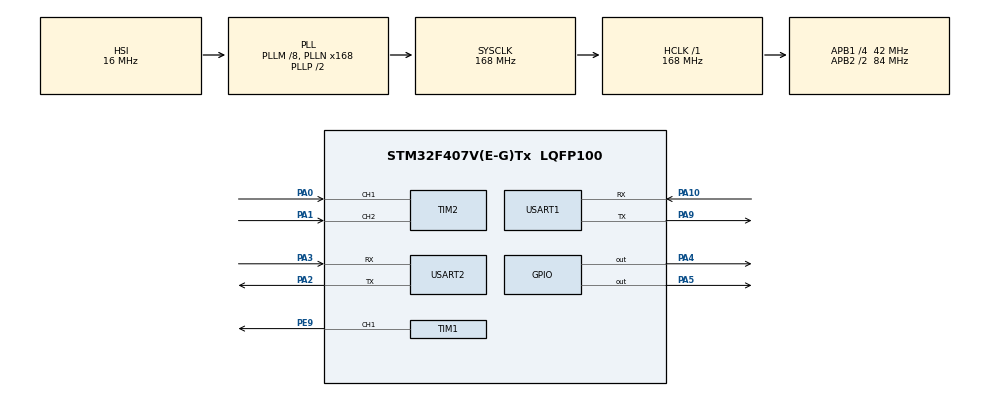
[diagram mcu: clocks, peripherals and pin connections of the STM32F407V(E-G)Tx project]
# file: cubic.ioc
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Mcu.Family=STM32F4
Mcu.Name=STM32F407V(E-G)Tx
Mcu.Package=LQFP100
NVIC.PriorityGroup=NVIC_PRIORITYGROUP_2
NVIC.TIM3_IRQn=true\:0\:1\:false\:false\:true\:true\:true
PA0-WKUP.Signal=S_TIM2_CH1_ETR
PA1.Signal=S_TIM2_CH2
PA10.Mode=Asynchronous
PA10.Signal=USART1_RX
PA2.Mode=Asynchronous
PA2.Signal=USART2_TX
PA3.Mode=Asynchronous
PA3.Signal=USART2_RX
PA4.Signal=GPIO_Output
PA5.Signal=GPIO_Output
PA9.Mode=Asynchronous
PA9.Signal=USART1_TX
PE9.Signal=S_TIM1_CH1
PH0-OSC_IN.Mode=HSE-External-Oscillator
PH0-OSC_IN.Signal=RCC_OSC_IN
PH1-OSC_OUT.Mode=HSE-External-Oscillator
PH1-OSC_OUT.Signal=RCC_OSC_OUT
ProjectManager.HeapSize=0x200
ProjectManager.StackSize=0x400
ProjectManager.TargetToolchain=MDK-ARM V5.27
RCC.48MHZClocksFreq_Value=84000000
RCC.AHBFreq_Value=168000000
RCC.APB1CLKDivider=RCC_HCLK_DIV4
RCC.APB1Freq_Value=42000000
RCC.APB1TimFreq_Value=84000000
RCC.APB2CLKDivider=RCC_HCLK_DIV2
RCC.APB2Freq_Value=84000000
RCC.APB2TimFreq_Value=168000000
RCC.CortexFreq_Value=168000000
RCC.HCLKFreq_Value=168000000
RCC.HSE_VALUE=25000000
RCC.HSI_VALUE=16000000
RCC.LSE_VALUE=32768
RCC.PLLM=8
RCC.PLLN=168
RCC.SYSCLKFreq_VALUE=168000000
RCC.SYSCLKSource=RCC_SYSCLKSOURCE_PLLCLK
RCC.VCOOutputFreq_Value=336000000
SH.S_TIM1_CH1.0=TIM1_CH1,PWM Generation1 CH1
SH.S_TIM2_CH1_ETR.0=TIM2_CH1,Encoder_Interface
SH.S_TIM2_CH2.0=TIM2_CH2,Encoder_Interface
TIM1.AutoReloadPreload=TIM_AUTORELOAD_PRELOAD_ENABLE
TIM1.Channel-PWM\ Generation1\ CH1=TIM_CHANNEL_1
TIM1.Period=2400-1
TIM1.Prescaler=7-1
TIM2.AutoReloadPreload=TIM_AUTORELOAD_PRELOAD_ENABLE
TIM2.EncoderMode=TIM_ENCODERMODE_TI12
TIM3.AutoReloadPreload=TIM_AUTORELOAD_PRELOAD_ENABLE
TIM3.Period=5000-1
TIM3.Prescaler=168-1
USART1.VirtualMode=VM_ASYNC
USART2.VirtualMode=VM_ASYNC
VP_TIM1_VS_ClockSourceINT.Mode=Internal
VP_TIM3_VS_ClockSourceINT.Mode=Internal
board=custom

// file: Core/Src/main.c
/* USER CODE BEGIN Header */
/**
  ******************************************************************************
  * @file           : main.c
  * @brief          : Main program body
  ******************************************************************************
  * @attention
  *
  * <h2><center>&copy; Copyright (c) 2021 STMicroelectronics.
  * All rights reserved.</center></h2>
  *
  * This software component is licensed by ST under BSD 3-Clause license,
  * the "License"; You may not use this file except in compliance with the
  * License. You may obtain a copy of the License at:
  *                        opensource.org/licenses/BSD-3-Clause
  *
  ******************************************************************************
  */
/* USER CODE END Header */
#include "main.h"
#include "tim.h"
#include "usart.h"
#include "gpio.h"

/* USER CODE BEGIN Includes */
#include "motor.h"
/* USER CODE END Includes */

/* USER CODE BEGIN PTD */
#define dt 0.005 //PID采样频率
/* USER CODE END PTD */

void SystemClock_Config(void);

/* USER CODE BEGIN 0 */
uint16_t current_pulse;
/**
  * @brief  串口调试
  * @retval None
  */
#include "stdio.h"
#define DEBUG
#ifdef DEBUG
#define DBG(format, ...) fprintf(stdout, "[\tDBG](File:%s, Func:%s(), Line:%d): " \
                                , __FILE__, __FUNCTION__, __LINE__);             \
                         fprintf(stdout, format"\r\n", ##__VA_ARGS__)
#else
#define DBG(format, ...)  do {} while (0)
#endif

int fputc(int ch, FILE *f){
    uint8_t temp[1] = {ch};
    HAL_UART_Transmit(&huart1, temp, 1, 2);//huart1 根据配置修改
    return ch;
}
/* USER CODE END 0 */

int main(void)
{

  /* MCU Configuration--------------------------------------------------------*/

  /* Reset of all peripherals, Initializes the Flash interface and the Systick. */
  HAL_Init();

  /* Configure the system clock */
  SystemClock_Config();

  /* Initialize all configured peripherals */
  MX_GPIO_Init();
  MX_TIM1_Init();
  MX_TIM2_Init();
  MX_USART1_UART_Init();
  MX_USART2_UART_Init();
  MX_TIM3_Init();
  /* USER CODE BEGIN 2 */
  HAL_TIM_Base_Start_IT(&htim3); //定时采样
  HAL_TIM_PWM_Start(&htim1,TIM_CHANNEL_1); //PWM开启
  HAL_TIM_Encoder_Start(&htim2, TIM_CHANNEL_ALL);  //编码器模式开启

  HAL_GPIO_WritePin(GPIOA, GPIO_PIN_4, GPIO_PIN_SET);
  HAL_GPIO_WritePin(GPIOA, GPIO_PIN_5, GPIO_PIN_RESET);
  __HAL_TIM_SET_COMPARE(&htim1, TIM_CHANNEL_1, 2400); //50%PWM
  /* USER CODE END 2 */

  /* Infinite loop */
  /* USER CODE BEGIN WHILE */
  while (1)
  {
     HAL_GPIO_TogglePin(GPIOA, GPIO_PIN_4);
     HAL_Delay(2000);
     DBG("%d\r\n", current_pulse);
    /* USER CODE END WHILE */

  }
}

void SystemClock_Config(void)
{
  RCC_OscInitTypeDef RCC_OscInitStruct = {0};
  RCC_ClkInitTypeDef RCC_ClkInitStruct = {0};

  /** Configure the main internal regulator output voltage
  */
  __HAL_RCC_PWR_CLK_ENABLE();
  __HAL_PWR_VOLTAGESCALING_CONFIG(PWR_REGULATOR_VOLTAGE_SCALE1);
  /** Initializes the RCC Oscillators according to the specified parameters
  * in the RCC_OscInitTypeDef structure.
  */
  RCC_OscInitStruct.OscillatorType = RCC_OSCILLATORTYPE_HSI;
  RCC_OscInitStruct.HSIState = RCC_HSI_ON;
  RCC_OscInitStruct.HSICalibrationValue = RCC_HSICALIBRATION_DEFAULT;
  RCC_OscInitStruct.PLL.PLLState = RCC_PLL_ON;
  RCC_OscInitStruct.PLL.PLLSource = RCC_PLLSOURCE_HSI;
  RCC_OscInitStruct.PLL.PLLM = 8;
  RCC_OscInitStruct.PLL.PLLN = 168;
  RCC_OscInitStruct.PLL.PLLP = RCC_PLLP_DIV2;
  RCC_OscInitStruct.PLL.PLLQ = 4;
  if (HAL_RCC_OscConfig(&RCC_OscInitStruct) != HAL_OK)
  {
    Error_Handler();
  }
  /** Initializes the CPU, AHB and APB buses clocks
  */
  RCC_ClkInitStruct.ClockType = RCC_CLOCKTYPE_HCLK|RCC_CLOCKTYPE_SYSCLK
                              |RCC_CLOCKTYPE_PCLK1|RCC_CLOCKTYPE_PCLK2;
  RCC_ClkInitStruct.SYSCLKSource = RCC_SYSCLKSOURCE_PLLCLK;
  RCC_ClkInitStruct.AHBCLKDivider = RCC_SYSCLK_DIV1;
  RCC_ClkInitStruct.APB1CLKDivider = RCC_HCLK_DIV4;
  RCC_ClkInitStruct.APB2CLKDivider = RCC_HCLK_DIV2;

  if (HAL_RCC_ClockConfig(&RCC_ClkInitStruct, FLASH_LATENCY_5) != HAL_OK)
  {
    Error_Handler();
  }
}

/* USER CODE BEGIN 4 */
void HAL_TIM_PeriodElapsedCallback(TIM_HandleTypeDef *htim)  //5ms进一次中断
{
  if(htim->Instance == htim3.Instance)
  {
      current_pulse = (uint32_t)(__HAL_TIM_GET_COUNTER(&htim1)); //读取编 码器数值  采样频率200Hz
      __HAL_TIM_SET_COUNTER(&htim1, 0); //把这个数值清零从新计数

      /*角度PID*/
      angle_pid.error    = angle_pid.measured_value - angle_pid.set_value;
      angle_pid.integral = angle_pid.error * dt + angle_pid.integral;
      angle_pid.derival  = (angle_pid.error - angle_pid.passive_error) / dt;
      angle_pid.output   = current_pulse + angle_pid.kp*angle_pid.error +\
      angle_pid.ki*angle_pid.integral + angle_pid.kd*angle_pid.derival;

      /*速度PID*/
      speed_pid.error    = speed_pid.measured_value - speed_pid.set_value;
      speed_pid.integral = speed_pid.error * dt + speed_pid.integral;
      speed_pid.derival  = (speed_pid.error - speed_pid.passive_error) / dt;
      speed_pid.output   = current_pulse + speed_pid.kp*speed_pid.error +\
      speed_pid.ki*speed_pid.integral + speed_pid.kd*speed_pid.derival;
  }
}
/* USER CODE END 4 */

void Error_Handler(void)
{
}

/************************ (C) COPYRIGHT STMicroelectronics *****END OF FILE****/
